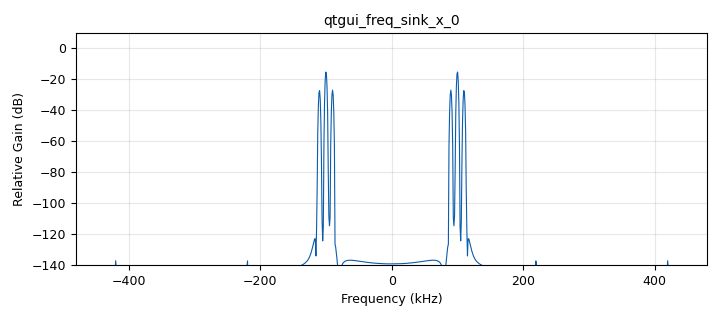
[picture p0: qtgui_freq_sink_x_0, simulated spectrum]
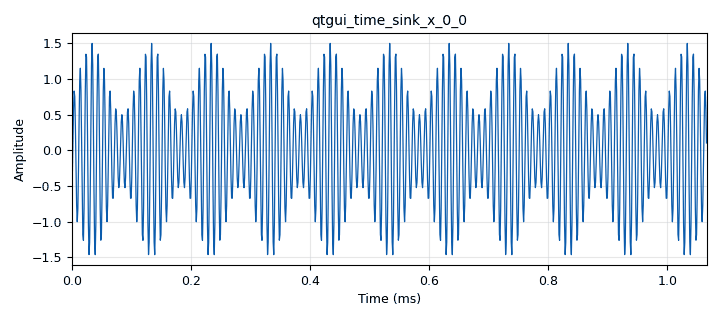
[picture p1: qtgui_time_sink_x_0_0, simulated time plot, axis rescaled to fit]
<?xml version='1.0' encoding='utf-8'?>
<?grc format='1' created='3.7.13'?>
<flow_graph>
<block>
<key>options</key>
<param><key>id</key><value>top_block</value></param>
<param><key>generate_options</key><value>qt_gui</value></param>
</block>
<block>
<key>variable</key>
<param><key>id</key><value>samp_rate_unmod</value></param>
<param><key>value</key><value>960000</value></param>
</block>
<block>
<key>blocks_add_xx</key>
<param><key>id</key><value>blocks_add_xx_0</value></param>
<param><key>type</key><value>float</value></param>
</block>
<block>
<key>blocks_multiply_const_vxx</key>
<param><key>id</key><value>blocks_multiply_const_vxx_0</value></param>
<param><key>const</key><value>.5</value></param>
<param><key>type</key><value>float</value></param>
</block>
<block>
<key>blocks_multiply_xx</key>
<param><key>id</key><value>blocks_multiply_xx_0</value></param>
<param><key>type</key><value>float</value></param>
</block>
<block>
<key>blocks_throttle</key>
<param><key>id</key><value>blocks_throttle_0</value></param>
<param><key>samples_per_second</key><value>samp_rate_unmod</value></param>
<param><key>type</key><value>float</value></param>
</block>
<block>
<key>analog_sig_source_x</key>
<param><key>id</key><value>carrier</value></param>
<param><key>amp</key><value>1</value></param>
<param><key>freq</key><value>100000</value></param>
<param><key>offset</key><value>0</value></param>
<param><key>type</key><value>float</value></param>
<param><key>samp_rate</key><value>samp_rate_unmod</value></param>
<param><key>waveform</key><value>analog.GR_COS_WAVE</value></param>
</block>
<block>
<key>analog_sig_source_x</key>
<param><key>id</key><value>message_signal</value></param>
<param><key>amp</key><value>1</value></param>
<param><key>freq</key><value>10000</value></param>
<param><key>offset</key><value>0</value></param>
<param><key>type</key><value>float</value></param>
<param><key>samp_rate</key><value>samp_rate_unmod</value></param>
<param><key>waveform</key><value>analog.GR_COS_WAVE</value></param>
</block>
<block>
<key>qtgui_freq_sink_x</key>
<param><key>id</key><value>qtgui_freq_sink_x_0</value></param>
<param><key>bw</key><value>samp_rate_unmod</value></param>
<param><key>fc</key><value>0</value></param>
<param><key>fftsize</key><value>1024</value></param>
<param><key>showports</key><value>True</value></param>
<param><key>type</key><value>float</value></param>
<param><key>wintype</key><value>firdes.WIN_BLACKMAN_hARRIS</value></param>
</block>
<block>
<key>qtgui_time_sink_x</key>
<param><key>id</key><value>qtgui_time_sink_x_0_0</value></param>
<param><key>color1</key><value>"blue"</value></param>
<param><key>label1</key><value></value></param>
<param><key>size</key><value>1024</value></param>
<param><key>srate</key><value>960000</value></param>
<param><key>type</key><value>float</value></param>
</block>
<connection><source_block_id>blocks_add_xx_0</source_block_id><sink_block_id>blocks_throttle_0</sink_block_id><source_key>0</source_key><sink_key>0</sink_key></connection>
<connection><source_block_id>blocks_multiply_const_vxx_0</source_block_id><sink_block_id>blocks_multiply_xx_0</sink_block_id><source_key>0</source_key><sink_key>0</sink_key></connection>
<connection><source_block_id>blocks_multiply_xx_0</source_block_id><sink_block_id>blocks_add_xx_0</sink_block_id><source_key>0</source_key><sink_key>0</sink_key></connection>
<connection><source_block_id>blocks_throttle_0</source_block_id><sink_block_id>qtgui_freq_sink_x_0</sink_block_id><source_key>0</source_key><sink_key>0</sink_key></connection>
<connection><source_block_id>blocks_throttle_0</source_block_id><sink_block_id>qtgui_time_sink_x_0_0</sink_block_id><source_key>0</source_key><sink_key>0</sink_key></connection>
<connection><source_block_id>carrier</source_block_id><sink_block_id>blocks_add_xx_0</sink_block_id><source_key>0</source_key><sink_key>1</sink_key></connection>
<connection><source_block_id>carrier</source_block_id><sink_block_id>blocks_multiply_xx_0</sink_block_id><source_key>0</source_key><sink_key>1</sink_key></connection>
<connection><source_block_id>message_signal</source_block_id><sink_block_id>blocks_multiply_const_vxx_0</sink_block_id><source_key>0</source_key><sink_key>0</sink_key></connection>
</flow_graph>
